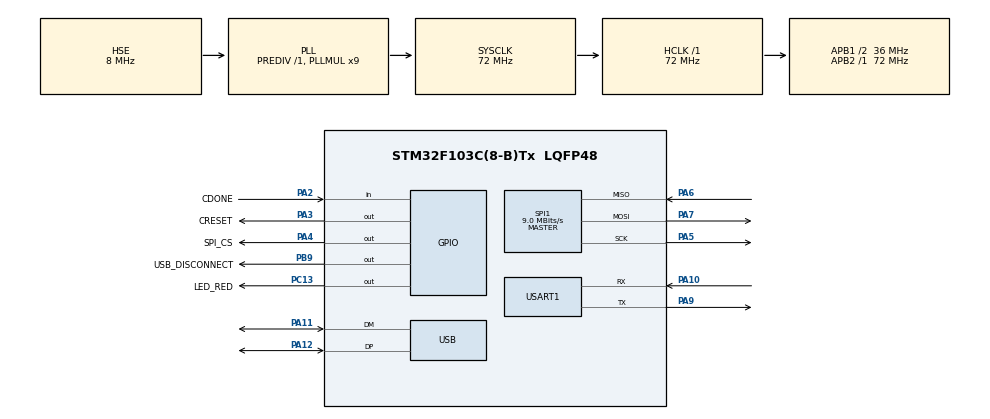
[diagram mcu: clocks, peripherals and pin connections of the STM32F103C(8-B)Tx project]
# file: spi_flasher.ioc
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Dma.Request0=SPI1_RX
Dma.Request1=SPI1_TX
Dma.SPI1_RX.0.Direction=DMA_PERIPH_TO_MEMORY
Dma.SPI1_RX.0.Instance=DMA1_Channel2
Dma.SPI1_RX.0.MemDataAlignment=DMA_MDATAALIGN_BYTE
Dma.SPI1_RX.0.MemInc=DMA_MINC_ENABLE
Dma.SPI1_RX.0.Mode=DMA_NORMAL
Dma.SPI1_RX.0.PeriphDataAlignment=DMA_PDATAALIGN_BYTE
Dma.SPI1_RX.0.PeriphInc=DMA_PINC_DISABLE
Dma.SPI1_RX.0.Priority=DMA_PRIORITY_LOW
Dma.SPI1_TX.1.Direction=DMA_MEMORY_TO_PERIPH
Dma.SPI1_TX.1.Instance=DMA1_Channel3
Dma.SPI1_TX.1.MemDataAlignment=DMA_MDATAALIGN_BYTE
Dma.SPI1_TX.1.MemInc=DMA_MINC_ENABLE
Dma.SPI1_TX.1.Mode=DMA_NORMAL
Dma.SPI1_TX.1.PeriphDataAlignment=DMA_PDATAALIGN_BYTE
Dma.SPI1_TX.1.PeriphInc=DMA_PINC_DISABLE
Dma.SPI1_TX.1.Priority=DMA_PRIORITY_LOW
FREERTOS.Tasks01=defaultTask,0,256,StartDefaultTask,Default,NULL,Dynamic,NULL,NULL
FREERTOS.configCHECK_FOR_STACK_OVERFLOW=2
FREERTOS.configUSE_MALLOC_FAILED_HOOK=1
Mcu.Family=STM32F1
Mcu.Name=STM32F103C(8-B)Tx
Mcu.Package=LQFP48
NVIC.DMA1_Channel2_IRQn=true\:5\:0\:true\:false\:true\:true\:false
NVIC.DMA1_Channel3_IRQn=true\:5\:0\:true\:false\:true\:true\:false
NVIC.PriorityGroup=NVIC_PRIORITYGROUP_4
NVIC.TIM2_IRQn=true\:0\:0\:false\:false\:true\:false\:false
NVIC.TimeBase=TIM2_IRQn
NVIC.TimeBaseIP=TIM2
NVIC.USB_LP_CAN1_RX0_IRQn=true\:5\:0\:false\:false\:true\:true\:false
PA10.Mode=Asynchronous
PA10.Signal=USART1_RX
PA11.Mode=Device
PA11.Signal=USB_DM
PA12.Mode=Device
PA12.Signal=USB_DP
PA13.Mode=Serial_Wire
PA13.Signal=SYS_JTMS-SWDIO
PA14.Mode=Serial_Wire
PA14.Signal=SYS_JTCK-SWCLK
PA2.GPIO_Label=CDONE
PA2.Signal=GPIO_Input
PA3.GPIO_Label=CRESET
PA3.Signal=GPIO_Output
PA4.GPIO_Label=SPI_CS
PA4.Signal=GPIO_Output
PA5.Mode=Full_Duplex_Master
PA5.Signal=SPI1_SCK
PA6.Mode=Full_Duplex_Master
PA6.Signal=SPI1_MISO
PA7.Mode=Full_Duplex_Master
PA7.Signal=SPI1_MOSI
PA9.Mode=Asynchronous
PA9.Signal=USART1_TX
PB9.GPIO_Label=USB_DISCONNECT
PB9.Signal=GPIO_Output
PC13-TAMPER-RTC.GPIO_Label=LED_RED
PC13-TAMPER-RTC.Signal=GPIO_Output
PD0-OSC_IN.Mode=HSE-External-Oscillator
PD0-OSC_IN.Signal=RCC_OSC_IN
PD1-OSC_OUT.Mode=HSE-External-Oscillator
PD1-OSC_OUT.Signal=RCC_OSC_OUT
ProjectManager.HeapSize=0x200
ProjectManager.StackSize=0x400
ProjectManager.TargetToolchain=TrueSTUDIO
RCC.AHBFreq_Value=72000000
RCC.APB1CLKDivider=RCC_HCLK_DIV2
RCC.APB1Freq_Value=36000000
RCC.APB1TimFreq_Value=72000000
RCC.APB2Freq_Value=72000000
RCC.APB2TimFreq_Value=72000000
RCC.HCLKFreq_Value=72000000
RCC.PLLMUL=RCC_PLL_MUL9
RCC.SYSCLKFreq_VALUE=72000000
RCC.SYSCLKSource=RCC_SYSCLKSOURCE_PLLCLK
RCC.USBFreq_Value=48000000
RCC.USBPrescaler=RCC_USBCLKSOURCE_PLL_DIV1_5
SPI1.BaudRatePrescaler=SPI_BAUDRATEPRESCALER_8
SPI1.CalculateBaudRate=9.0 MBits/s
SPI1.Direction=SPI_DIRECTION_2LINES
SPI1.Mode=SPI_MODE_MASTER
SPI1.VirtualType=VM_MASTER
USART1.VirtualMode=VM_ASYNC
USB_DEVICE.CLASS_NAME_FS=DFU
USB_DEVICE.USBD_DFU_APP_DEFAULT_ADD=0x0
USB_DEVICE.USBD_DFU_MEDIA=@SPI Flash/0x00000000/32*064Kg
USB_DEVICE.USBD_DFU_XFER_SIZE=4096
USB_DEVICE.VirtualMode=Dfu
USB_DEVICE.VirtualModeFS=Dfu_FS
VP_FREERTOS_VS_ENABLE.Mode=Enabled
VP_SYS_VS_tim2.Mode=TIM2
VP_USB_DEVICE_VS_USB_DEVICE_DFU_FS.Mode=DFU_FS
board=spi_flasher

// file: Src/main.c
/**
  ******************************************************************************
  * @file           : main.c
  * @brief          : Main program body
  ******************************************************************************
  * This notice applies to any and all portions of this file
  * that are not between comment pairs USER CODE BEGIN and
  * USER CODE END. Other portions of this file, whether
  * inserted by the user or by software development tools
  * are owned by their respective copyright owners.
  *
  * Copyright (c) 2018 STMicroelectronics International N.V.
  * All rights reserved.
  *
  * Redistribution and use in source and binary forms, with or without
  * modification, are permitted, provided that the following conditions are met:
  *
  * 1. Redistribution of source code must retain the above copyright notice,
  *    this list of conditions and the following disclaimer.
  * 2. Redistributions in binary form must reproduce the above copyright notice,
  *    this list of conditions and the following disclaimer in the documentation
  *    and/or other materials provided with the distribution.
  * 3. Neither the name of STMicroelectronics nor the names of other
  *    contributors to this software may be used to endorse or promote products
  *    derived from this software without specific written permission.
  * 4. This software, including modifications and/or derivative works of this
  *    software, must execute solely and exclusively on microcontroller or
  *    microprocessor devices manufactured by or for STMicroelectronics.
  * 5. Redistribution and use of this software other than as permitted under
  *    this license is void and will automatically terminate your rights under
  *    this license.
  *
  * THIS SOFTWARE IS PROVIDED BY STMICROELECTRONICS AND CONTRIBUTORS "AS IS"
  * AND ANY EXPRESS, IMPLIED OR STATUTORY WARRANTIES, INCLUDING, BUT NOT
  * LIMITED TO, THE IMPLIED WARRANTIES OF MERCHANTABILITY, FITNESS FOR A
  * PARTICULAR PURPOSE AND NON-INFRINGEMENT OF THIRD PARTY INTELLECTUAL PROPERTY
  * RIGHTS ARE DISCLAIMED TO THE FULLEST EXTENT PERMITTED BY LAW. IN NO EVENT
  * SHALL STMICROELECTRONICS OR CONTRIBUTORS BE LIABLE FOR ANY DIRECT, INDIRECT,
  * INCIDENTAL, SPECIAL, EXEMPLARY, OR CONSEQUENTIAL DAMAGES (INCLUDING, BUT NOT
  * LIMITED TO, PROCUREMENT OF SUBSTITUTE GOODS OR SERVICES; LOSS OF USE, DATA,
  * OR PROFITS; OR BUSINESS INTERRUPTION) HOWEVER CAUSED AND ON ANY THEORY OF
  * LIABILITY, WHETHER IN CONTRACT, STRICT LIABILITY, OR TORT (INCLUDING
  * NEGLIGENCE OR OTHERWISE) ARISING IN ANY WAY OUT OF THE USE OF THIS SOFTWARE,
  * EVEN IF ADVISED OF THE POSSIBILITY OF SUCH DAMAGE.
  *
  ******************************************************************************
  */
#include "main.h"
#include "stm32f1xx_hal.h"
#include "cmsis_os.h"
#include "usb_device.h"

/* USER CODE BEGIN Includes */
#include <stdio.h>
#include <string.h>
#include <stdarg.h>
#include <time.h>

#include "common.h"
#include "uart.h"
#include "usbd_dfu_if.h"
#include "flash.h"

#define USE_LEAFLABS_MAPLE      0   /* 1: LeafLabs Maple, 0: Blue pill */
#define DISABLE_WATCHDOG_MAGIC  0xDEADBEEF
/* USER CODE END Includes */

SPI_HandleTypeDef hspi1;
DMA_HandleTypeDef hdma_spi1_rx;
DMA_HandleTypeDef hdma_spi1_tx;

UART_HandleTypeDef huart1;

osThreadId defaultTaskHandle;

/* USER CODE BEGIN PV */
/* Private variables ---------------------------------------------------------*/

osThreadId watchdogTaskHandle;
osMutexDef(printf_mutex);
osMutexId printf_mutex = NULL;
osSemaphoreDef(creset_sem);
osSemaphoreId creset_sem = NULL;
uint32_t disableWatchdog = 0;
extern void defaultTask(void const * argument);
/* USER CODE END PV */

void SystemClock_Config(void);
static void MX_GPIO_Init(void);
static void MX_DMA_Init(void);
static void MX_SPI1_Init(void);
static void MX_USART1_UART_Init(void);
void StartDefaultTask(void const * argument);

/* USER CODE BEGIN PFP */
/* Private function prototypes -----------------------------------------------*/

void watchdogTask(void const * arg);
/* USER CODE END PFP */

/* USER CODE BEGIN 0 */
/**
 * Connect USB device to host.
 */
void USB_enablePullup(void)
{
#if USE_LEAFLABS_MAPLE == 0
    HAL_GPIO_WritePin(USB_DISCONNECT_GPIO_Port, USB_DISCONNECT_Pin, GPIO_PIN_SET);
#else
    HAL_GPIO_WritePin(USB_DISCONNECT_GPIO_Port, USB_DISCONNECT_Pin, GPIO_PIN_RESET);
#endif
}

/**
 * Disconnect USB device to host.
 */
void USB_disablePullup(void)
{
#if USE_LEAFLABS_MAPLE == 0
    HAL_GPIO_WritePin(USB_DISCONNECT_GPIO_Port, USB_DISCONNECT_Pin, GPIO_PIN_RESET);
#else
    HAL_GPIO_WritePin(USB_DISCONNECT_GPIO_Port, USB_DISCONNECT_Pin, GPIO_PIN_SET);
#endif
}

static inline void LED_on(void)
{
    HAL_GPIO_WritePin(LED_RED_GPIO_Port, LED_RED_Pin, GPIO_PIN_SET);
}

static inline void LED_off(void)
{
    HAL_GPIO_WritePin(LED_RED_GPIO_Port, LED_RED_Pin, GPIO_PIN_RESET);
}

static inline void LED_toggle(void)
{
    HAL_GPIO_TogglePin(LED_RED_GPIO_Port, LED_RED_Pin);
}
/* USER CODE END 0 */

int main(void)
{

  /* MCU Configuration----------------------------------------------------------*/

  /* Reset of all peripherals, Initializes the Flash interface and the Systick. */
  HAL_Init();

  /* Configure the system clock */
  SystemClock_Config();

  /* USER CODE BEGIN SysInit */

  /* Enable division by zero fault */
  SCB->CCR |= 0x10;
  /* USER CODE END SysInit */

  /* Initialize all configured peripherals */
  MX_GPIO_Init();
  MX_DMA_Init();
  MX_SPI1_Init();
  MX_USART1_UART_Init();
  /* USER CODE BEGIN 2 */

  srand(time(0));
  UART_printf_("\r\n\r\nBoard initialized\r\n");
  UART_printf_("Internal flash memory of MCU: %u KiB\r\n", *((volatile uint16_t*)0x1FFFF7E0));
#if DEBUG == 1
  UART_printf_("DEBUG\r\n");
#else
  UART_printf_("RELEASE\r\n");
#endif
  UART_printf_("Compiled on " __DATE__ " " __TIME__ "\r\n");
#if ENABLE_WATCHDOG
  UART_printf_("Watchdog started\r\n");
  HAL_IWDG_Refresh(&hiwdg);
#else
  UART_printf_("Watchdog disabled\r\n");
#endif
  setbuf(stdout, NULL);
  printf("+++ printf test! +++\r\n");
  /* USER CODE END 2 */

  /* USER CODE BEGIN RTOS_MUTEX */
  printf_mutex = osMutexCreate(osMutex(printf_mutex));
  /* USER CODE END RTOS_MUTEX */

  /* USER CODE BEGIN RTOS_SEMAPHORES */
  creset_sem = osSemaphoreCreate(osSemaphore(creset_sem), 1);
  /* USER CODE END RTOS_SEMAPHORES */

  /* Create the thread(s) */
  /* definition and creation of defaultTask */
  osThreadDef(defaultTask, StartDefaultTask, osPriorityNormal, 0, 256);
  defaultTaskHandle = osThreadCreate(osThread(defaultTask), NULL);

  /* USER CODE BEGIN RTOS_THREADS */
  osThreadDef(watchdogTask, watchdogTask, osPriorityRealtime, 0, 64);
  watchdogTaskHandle = osThreadCreate(osThread(watchdogTask), NULL);
  /* USER CODE END RTOS_THREADS */

  /* Start scheduler */
  osKernelStart();

  /* We should never get here as control is now taken by the scheduler */

  /* Infinite loop */
  while (1)
  {

  }

}

void SystemClock_Config(void)
{

  RCC_OscInitTypeDef RCC_OscInitStruct;
  RCC_ClkInitTypeDef RCC_ClkInitStruct;
  RCC_PeriphCLKInitTypeDef PeriphClkInit;

    /**Initializes the CPU, AHB and APB busses clocks
    */
  RCC_OscInitStruct.OscillatorType = RCC_OSCILLATORTYPE_HSE;
  RCC_OscInitStruct.HSEState = RCC_HSE_ON;
  RCC_OscInitStruct.HSEPredivValue = RCC_HSE_PREDIV_DIV1;
  RCC_OscInitStruct.HSIState = RCC_HSI_ON;
  RCC_OscInitStruct.PLL.PLLState = RCC_PLL_ON;
  RCC_OscInitStruct.PLL.PLLSource = RCC_PLLSOURCE_HSE;
  RCC_OscInitStruct.PLL.PLLMUL = RCC_PLL_MUL9;
  if (HAL_RCC_OscConfig(&RCC_OscInitStruct) != HAL_OK)
  {
    _Error_Handler(__FILE__, __LINE__);
  }

    /**Initializes the CPU, AHB and APB busses clocks
    */
  RCC_ClkInitStruct.ClockType = RCC_CLOCKTYPE_HCLK|RCC_CLOCKTYPE_SYSCLK
                              |RCC_CLOCKTYPE_PCLK1|RCC_CLOCKTYPE_PCLK2;
  RCC_ClkInitStruct.SYSCLKSource = RCC_SYSCLKSOURCE_PLLCLK;
  RCC_ClkInitStruct.AHBCLKDivider = RCC_SYSCLK_DIV1;
  RCC_ClkInitStruct.APB1CLKDivider = RCC_HCLK_DIV2;
  RCC_ClkInitStruct.APB2CLKDivider = RCC_HCLK_DIV1;

  if (HAL_RCC_ClockConfig(&RCC_ClkInitStruct, FLASH_LATENCY_2) != HAL_OK)
  {
    _Error_Handler(__FILE__, __LINE__);
  }

  PeriphClkInit.PeriphClockSelection = RCC_PERIPHCLK_USB;
  PeriphClkInit.UsbClockSelection = RCC_USBCLKSOURCE_PLL_DIV1_5;
  if (HAL_RCCEx_PeriphCLKConfig(&PeriphClkInit) != HAL_OK)
  {
    _Error_Handler(__FILE__, __LINE__);
  }

    /**Configure the Systick interrupt time
    */
  HAL_SYSTICK_Config(HAL_RCC_GetHCLKFreq()/1000);

    /**Configure the Systick
    */
  HAL_SYSTICK_CLKSourceConfig(SYSTICK_CLKSOURCE_HCLK);

  /* SysTick_IRQn interrupt configuration */
  HAL_NVIC_SetPriority(SysTick_IRQn, 15, 0);
}

/* SPI1 init function */
static void MX_SPI1_Init(void)
{

  /* SPI1 parameter configuration*/
  hspi1.Instance = SPI1;
  hspi1.Init.Mode = SPI_MODE_MASTER;
  hspi1.Init.Direction = SPI_DIRECTION_2LINES;
  hspi1.Init.DataSize = SPI_DATASIZE_8BIT;
  hspi1.Init.CLKPolarity = SPI_POLARITY_LOW;
  hspi1.Init.CLKPhase = SPI_PHASE_1EDGE;
  hspi1.Init.NSS = SPI_NSS_SOFT;
  hspi1.Init.BaudRatePrescaler = SPI_BAUDRATEPRESCALER_8;
  hspi1.Init.FirstBit = SPI_FIRSTBIT_MSB;
  hspi1.Init.TIMode = SPI_TIMODE_DISABLE;
  hspi1.Init.CRCCalculation = SPI_CRCCALCULATION_DISABLE;
  hspi1.Init.CRCPolynomial = 10;
  if (HAL_SPI_Init(&hspi1) != HAL_OK)
  {
    _Error_Handler(__FILE__, __LINE__);
  }

}

/* USART1 init function */
static void MX_USART1_UART_Init(void)
{

  huart1.Instance = USART1;
  huart1.Init.BaudRate = 115200;
  huart1.Init.WordLength = UART_WORDLENGTH_8B;
  huart1.Init.StopBits = UART_STOPBITS_1;
  huart1.Init.Parity = UART_PARITY_NONE;
  huart1.Init.Mode = UART_MODE_TX_RX;
  huart1.Init.HwFlowCtl = UART_HWCONTROL_NONE;
  huart1.Init.OverSampling = UART_OVERSAMPLING_16;
  if (HAL_UART_Init(&huart1) != HAL_OK)
  {
    _Error_Handler(__FILE__, __LINE__);
  }

}

static void MX_DMA_Init(void)
{
  /* DMA controller clock enable */
  __HAL_RCC_DMA1_CLK_ENABLE();

  /* DMA interrupt init */
  /* DMA1_Channel2_IRQn interrupt configuration */
  HAL_NVIC_SetPriority(DMA1_Channel2_IRQn, 5, 0);
  HAL_NVIC_EnableIRQ(DMA1_Channel2_IRQn);
  /* DMA1_Channel3_IRQn interrupt configuration */
  HAL_NVIC_SetPriority(DMA1_Channel3_IRQn, 5, 0);
  HAL_NVIC_EnableIRQ(DMA1_Channel3_IRQn);

}

/** Configure pins as
        * Analog
        * Input
        * Output
        * EVENT_OUT
        * EXTI
*/
static void MX_GPIO_Init(void)
{

  GPIO_InitTypeDef GPIO_InitStruct;

  /* GPIO Ports Clock Enable */
  __HAL_RCC_GPIOC_CLK_ENABLE();
  __HAL_RCC_GPIOD_CLK_ENABLE();
  __HAL_RCC_GPIOA_CLK_ENABLE();
  __HAL_RCC_GPIOB_CLK_ENABLE();

  /*Configure GPIO pin Output Level */
  HAL_GPIO_WritePin(LED_RED_GPIO_Port, LED_RED_Pin, GPIO_PIN_RESET);

  /*Configure GPIO pin Output Level */
  HAL_GPIO_WritePin(GPIOA, CRESET_Pin|SPI_CS_Pin, GPIO_PIN_RESET);

  /*Configure GPIO pin Output Level */
  HAL_GPIO_WritePin(USB_DISCONNECT_GPIO_Port, USB_DISCONNECT_Pin, GPIO_PIN_RESET);

  /*Configure GPIO pin : LED_RED_Pin */
  GPIO_InitStruct.Pin = LED_RED_Pin;
  GPIO_InitStruct.Mode = GPIO_MODE_OUTPUT_PP;
  GPIO_InitStruct.Speed = GPIO_SPEED_FREQ_LOW;
  HAL_GPIO_Init(LED_RED_GPIO_Port, &GPIO_InitStruct);

  /*Configure GPIO pin : CDONE_Pin */
  GPIO_InitStruct.Pin = CDONE_Pin;
  GPIO_InitStruct.Mode = GPIO_MODE_INPUT;
  GPIO_InitStruct.Pull = GPIO_NOPULL;
  HAL_GPIO_Init(CDONE_GPIO_Port, &GPIO_InitStruct);

  /*Configure GPIO pins : CRESET_Pin SPI_CS_Pin */
  GPIO_InitStruct.Pin = CRESET_Pin|SPI_CS_Pin;
  GPIO_InitStruct.Mode = GPIO_MODE_OUTPUT_PP;
  GPIO_InitStruct.Speed = GPIO_SPEED_FREQ_LOW;
  HAL_GPIO_Init(GPIOA, &GPIO_InitStruct);

  /*Configure GPIO pin : USB_DISCONNECT_Pin */
  GPIO_InitStruct.Pin = USB_DISCONNECT_Pin;
  GPIO_InitStruct.Mode = GPIO_MODE_OUTPUT_PP;
  GPIO_InitStruct.Speed = GPIO_SPEED_FREQ_LOW;
  HAL_GPIO_Init(USB_DISCONNECT_GPIO_Port, &GPIO_InitStruct);

}

/* USER CODE BEGIN 4 */
/**
 * @brief watchdogTask LED blinking and watchdog reloading task.
 * @param arg
 */
void watchdogTask(void const * arg)
{
	(void) arg;

	for ( ; ; )
	{
#if ENABLE_WATCHDOG
        /*
         * Watchdog's timeout is 800 ms
         * Oscillator clock (LSI) = 40 kHz
         * Prescaler = /32
         * Down counter reload value = 1000
         * Timeout = 1 / ( 40000 / 32 ) * 1000 = 0.8 seconds
         */
        if (disableWatchdog != DISABLE_WATCHDOG_MAGIC)
        {
            /* Feed the watchdog */
            HAL_IWDG_Refresh(&hiwdg);
        }
#endif
        LED_toggle();
        osDelay(500);
    }
}

void vApplicationStackOverflowHook(TaskHandle_t xTask, char *pcTaskName)
{
    _print("\r\nStack overflow in task ");
    _print(pcTaskName);
    _print("\r\n");
    while(1)
    {
    }
}

uint32_t get_spi_prescaler(uint32_t a_prescaler_reg)
{
    uint32_t prescaler;

//    UART_printf("prescaler reg: 0x%X\r\n", a_prescaler_reg);
    switch (a_prescaler_reg)
    {
        case SPI_BAUDRATEPRESCALER_2:
            prescaler = 2;
            break;
        case SPI_BAUDRATEPRESCALER_4:
            prescaler = 4;
            break;
        case SPI_BAUDRATEPRESCALER_8:
            prescaler = 8;
            break;
        case SPI_BAUDRATEPRESCALER_16:
            prescaler = 16;
            break;
        case SPI_BAUDRATEPRESCALER_32:
            prescaler = 16;
            break;
        case SPI_BAUDRATEPRESCALER_64:
            prescaler = 64;
            break;
        case SPI_BAUDRATEPRESCALER_128:
            prescaler = 128;
            break;
        case SPI_BAUDRATEPRESCALER_256:
            prescaler = 256;
            break;
        default:
            break;
    }
//    UART_printf("prescaler: %i\r\n", prescaler);

    return prescaler;
}

uint32_t set_spi_prescaler(uint32_t a_prescaler)
{
    uint32_t prescaler_reg = 0;

//    UART_printf("prescaler: %i\r\n", a_prescaler);
    switch (a_prescaler)
    {
        case 2:
            prescaler_reg = SPI_BAUDRATEPRESCALER_2;
            break;
        case 4:
            prescaler_reg = SPI_BAUDRATEPRESCALER_4;
            break;
        case 8:
            prescaler_reg = SPI_BAUDRATEPRESCALER_8;
            break;
        case 16:
            prescaler_reg = SPI_BAUDRATEPRESCALER_16;
            break;
        case 32:
            prescaler_reg = SPI_BAUDRATEPRESCALER_32;
            break;
        case 64:
            prescaler_reg = SPI_BAUDRATEPRESCALER_64;
            break;
        case 128:
            prescaler_reg = SPI_BAUDRATEPRESCALER_128;
            break;
        case 256:
            prescaler_reg = SPI_BAUDRATEPRESCALER_256;
            break;
        default:
            break;
    }
//    UART_printf("prescaler reg: 0x%X\r\n", prescaler_reg);

    return prescaler_reg;
}

void set_spi_freq(bool_t a_increase)
{
    uint32_t freq_hz;
    uint32_t prescaler = get_spi_prescaler(hspi1.Init.BaudRatePrescaler);

    freq_hz = HAL_RCC_GetPCLK2Freq() / prescaler;
    UART_printf("Change SPI clock from %i kHz to ", freq_hz / 1000);
    if (a_increase == TRUE && prescaler > 2)
    {
        prescaler >>= 1;
    }
    if (a_increase == FALSE && prescaler < 256)
    {
        prescaler <<= 1;
    }
    freq_hz = HAL_RCC_GetPCLK2Freq() / prescaler;
    UART_printf("%i kHz\r\n", freq_hz / 1000);
    hspi1.Init.BaudRatePrescaler = set_spi_prescaler(prescaler);
    if (HAL_SPI_Init(&hspi1) != HAL_OK)
    {
        _Error_Handler(__FILE__, __LINE__);
    }
}
/* USER CODE END 4 */

/* StartDefaultTask function */
void StartDefaultTask(void const * argument)
{
  /* init code for USB_DEVICE */
  MX_USB_DEVICE_Init();

  /* USER CODE BEGIN 5 */
  UART_printf("Connect USB device (enable 1.5k pull-up resistor on D+)\r\n");
  USB_enablePullup();
  dfu_flash_init();
  {
    uint32_t freq_hz;
    uint32_t prescaler = get_spi_prescaler(hspi1.Init.BaudRatePrescaler);

    freq_hz = HAL_RCC_GetPCLK2Freq() / prescaler;
    UART_printf("Default SPI clock: %i kHz\r\n", freq_hz / 1000);
  }
  dfu_flash_deinit();
  /* Infinite loop */
  for(;;)
  {
      char c;

      /* After 500 milliseconds, release CRESET automatically to let the FPGA run */
      if (osSemaphoreWait(creset_sem, 500) != osOK)
      {
          dfu_flash_deinit();
      }
      /* Using the non-blocking method to get a character from UART */
      c = UART_getcharNB();
      if (c == '+')
      {
          set_spi_freq(TRUE);
      }
      if (c == '-')
      {
          set_spi_freq(FALSE);
      }
      if (c == 'x')
      {
          flash_status_t ret;

          UART_printf("Erase the whole flash (y/n)? ");
          c = UART_getchar();
          if (c == 'y')
          {
              UART_printf("Yes.\r\n");
              dfu_flash_init();
              UART_printf("Erase chip");
              ret = flash_erase_all(TRUE);
              if (ret == FLASH_SUCCESS)
              {
                  UART_printf("Done.\r\n");
              }
              else
              {
                  UART_printf("Error %i!\r\n", ret);
              }
              dfu_flash_deinit();
          }
          else
          {
              UART_printf("No. Erase cancelled.\r\n");
          }
      }
  }
  /* USER CODE END 5 */
}

void HAL_TIM_PeriodElapsedCallback(TIM_HandleTypeDef *htim)
{
  if (htim->Instance == TIM2) {
    HAL_IncTick();
  }
}

void _Error_Handler(char *file, int line)
{
  /* USER CODE BEGIN Error_Handler_Debug */
    _print("\r\nFatal error in file ");
    _print(file);
    _print("at line 0x");
    _printHex32(line);
    _print("\r\n");
    /* User can add his own implementation to report the HAL error return state */
    while(1)
    {
    }
  /* USER CODE END Error_Handler_Debug */
}

/************************ (C) COPYRIGHT STMicroelectronics *****END OF FILE****/

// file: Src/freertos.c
/**
  ******************************************************************************
  * File Name          : freertos.c
  * Description        : Code for freertos applications
  ******************************************************************************
  * This notice applies to any and all portions of this file
  * that are not between comment pairs USER CODE BEGIN and
  * USER CODE END. Other portions of this file, whether
  * inserted by the user or by software development tools
  * are owned by their respective copyright owners.
  *
  * Copyright (c) 2018 STMicroelectronics International N.V.
  * All rights reserved.
  *
  * Redistribution and use in source and binary forms, with or without
  * modification, are permitted, provided that the following conditions are met:
  *
  * 1. Redistribution of source code must retain the above copyright notice,
  *    this list of conditions and the following disclaimer.
  * 2. Redistributions in binary form must reproduce the above copyright notice,
  *    this list of conditions and the following disclaimer in the documentation
  *    and/or other materials provided with the distribution.
  * 3. Neither the name of STMicroelectronics nor the names of other
  *    contributors to this software may be used to endorse or promote products
  *    derived from this software without specific written permission.
  * 4. This software, including modifications and/or derivative works of this
  *    software, must execute solely and exclusively on microcontroller or
  *    microprocessor devices manufactured by or for STMicroelectronics.
  * 5. Redistribution and use of this software other than as permitted under
  *    this license is void and will automatically terminate your rights under
  *    this license.
  *
  * THIS SOFTWARE IS PROVIDED BY STMICROELECTRONICS AND CONTRIBUTORS "AS IS"
  * AND ANY EXPRESS, IMPLIED OR STATUTORY WARRANTIES, INCLUDING, BUT NOT
  * LIMITED TO, THE IMPLIED WARRANTIES OF MERCHANTABILITY, FITNESS FOR A
  * PARTICULAR PURPOSE AND NON-INFRINGEMENT OF THIRD PARTY INTELLECTUAL PROPERTY
  * RIGHTS ARE DISCLAIMED TO THE FULLEST EXTENT PERMITTED BY LAW. IN NO EVENT
  * SHALL STMICROELECTRONICS OR CONTRIBUTORS BE LIABLE FOR ANY DIRECT, INDIRECT,
  * INCIDENTAL, SPECIAL, EXEMPLARY, OR CONSEQUENTIAL DAMAGES (INCLUDING, BUT NOT
  * LIMITED TO, PROCUREMENT OF SUBSTITUTE GOODS OR SERVICES; LOSS OF USE, DATA,
  * OR PROFITS; OR BUSINESS INTERRUPTION) HOWEVER CAUSED AND ON ANY THEORY OF
  * LIABILITY, WHETHER IN CONTRACT, STRICT LIABILITY, OR TORT (INCLUDING
  * NEGLIGENCE OR OTHERWISE) ARISING IN ANY WAY OUT OF THE USE OF THIS SOFTWARE,
  * EVEN IF ADVISED OF THE POSSIBILITY OF SUCH DAMAGE.
  *
  ******************************************************************************
  */

#include "FreeRTOS.h"
#include "task.h"

/* Hook prototypes */
void vApplicationStackOverflowHook(xTaskHandle xTask, signed char *pcTaskName);
void vApplicationMallocFailedHook(void);

/* USER CODE BEGIN 4 */
__weak void vApplicationStackOverflowHook(xTaskHandle xTask, signed char *pcTaskName)
{
   /* Run time stack overflow checking is performed if
   configCHECK_FOR_STACK_OVERFLOW is defined to 1 or 2. This hook function is
   called if a stack overflow is detected. */
}
/* USER CODE END 4 */

/* USER CODE BEGIN 5 */
__weak void vApplicationMallocFailedHook(void)
{
   /* vApplicationMallocFailedHook() will only be called if
   configUSE_MALLOC_FAILED_HOOK is set to 1 in FreeRTOSConfig.h. It is a hook
   function that will get called if a call to pvPortMalloc() fails.
   pvPortMalloc() is called internally by the kernel whenever a task, queue,
   timer or semaphore is created. It is also called by various parts of the
   demo application. If heap_1.c or heap_2.c are used, then the size of the
   heap available to pvPortMalloc() is defined by configTOTAL_HEAP_SIZE in
   FreeRTOSConfig.h, and the xPortGetFreeHeapSize() API function can be used
   to query the size of free heap space that remains (although it does not
   provide information on how the remaining heap might be fragmented). */
}
/* USER CODE END 5 */

/************************ (C) COPYRIGHT STMicroelectronics *****END OF FILE****/
